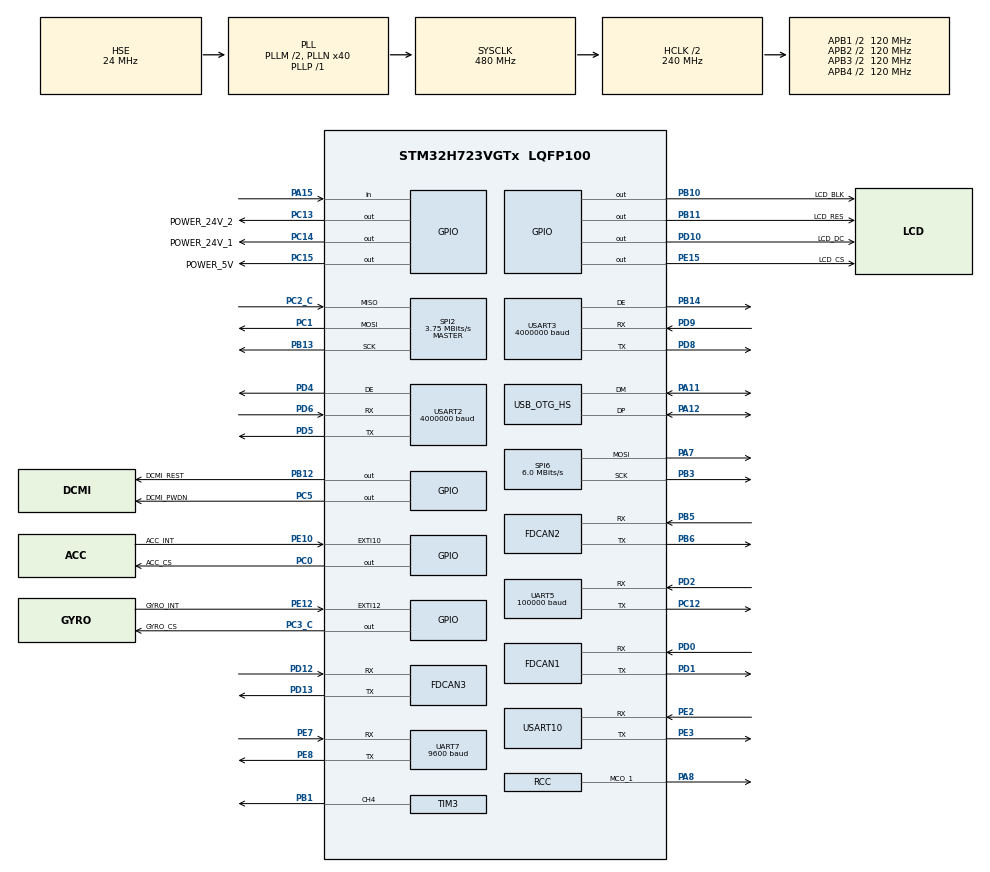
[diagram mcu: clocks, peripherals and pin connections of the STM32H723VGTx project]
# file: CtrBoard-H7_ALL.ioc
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Dma.Request0=UART5_RX
Dma.Request1=SPI2_RX
Dma.Request2=SPI2_TX
Dma.Request3=USART10_RX
Dma.Request4=USART2_RX
Dma.Request5=USART3_RX
Dma.Request6=USART2_TX
Dma.Request7=USART3_TX
Dma.Request8=UART7_RX
Dma.Request9=USART10_TX
Dma.SPI2_RX.1.Direction=DMA_PERIPH_TO_MEMORY
Dma.SPI2_RX.1.EventEnable=DISABLE
Dma.SPI2_RX.1.FIFOMode=DMA_FIFOMODE_DISABLE
Dma.SPI2_RX.1.Instance=DMA2_Stream0
Dma.SPI2_RX.1.MemDataAlignment=DMA_MDATAALIGN_BYTE
Dma.SPI2_RX.1.MemInc=DMA_MINC_ENABLE
Dma.SPI2_RX.1.Mode=DMA_NORMAL
Dma.SPI2_RX.1.PeriphDataAlignment=DMA_PDATAALIGN_BYTE
Dma.SPI2_RX.1.PeriphInc=DMA_PINC_DISABLE
Dma.SPI2_RX.1.Polarity=HAL_DMAMUX_REQ_GEN_RISING
Dma.SPI2_RX.1.Priority=DMA_PRIORITY_VERY_HIGH
Dma.SPI2_RX.1.RequestNumber=1
Dma.SPI2_RX.1.SignalID=NONE
Dma.SPI2_RX.1.SyncEnable=DISABLE
Dma.SPI2_RX.1.SyncPolarity=HAL_DMAMUX_SYNC_NO_EVENT
Dma.SPI2_RX.1.SyncRequestNumber=1
Dma.SPI2_RX.1.SyncSignalID=NONE
Dma.SPI2_TX.2.Direction=DMA_MEMORY_TO_PERIPH
Dma.SPI2_TX.2.EventEnable=DISABLE
Dma.SPI2_TX.2.FIFOMode=DMA_FIFOMODE_DISABLE
Dma.SPI2_TX.2.Instance=DMA2_Stream1
Dma.SPI2_TX.2.MemDataAlignment=DMA_MDATAALIGN_BYTE
Dma.SPI2_TX.2.MemInc=DMA_MINC_ENABLE
Dma.SPI2_TX.2.Mode=DMA_NORMAL
Dma.SPI2_TX.2.PeriphDataAlignment=DMA_PDATAALIGN_BYTE
Dma.SPI2_TX.2.PeriphInc=DMA_PINC_DISABLE
Dma.SPI2_TX.2.Polarity=HAL_DMAMUX_REQ_GEN_RISING
Dma.SPI2_TX.2.Priority=DMA_PRIORITY_HIGH
Dma.SPI2_TX.2.RequestNumber=1
Dma.SPI2_TX.2.SignalID=NONE
Dma.SPI2_TX.2.SyncEnable=DISABLE
Dma.SPI2_TX.2.SyncPolarity=HAL_DMAMUX_SYNC_NO_EVENT
Dma.SPI2_TX.2.SyncRequestNumber=1
Dma.SPI2_TX.2.SyncSignalID=NONE
Dma.UART5_RX.0.Direction=DMA_PERIPH_TO_MEMORY
Dma.UART5_RX.0.EventEnable=DISABLE
Dma.UART5_RX.0.FIFOMode=DMA_FIFOMODE_DISABLE
Dma.UART5_RX.0.Instance=DMA1_Stream2
Dma.UART5_RX.0.MemDataAlignment=DMA_MDATAALIGN_BYTE
Dma.UART5_RX.0.MemInc=DMA_MINC_ENABLE
Dma.UART5_RX.0.Mode=DMA_NORMAL
Dma.UART5_RX.0.PeriphDataAlignment=DMA_PDATAALIGN_BYTE
Dma.UART5_RX.0.PeriphInc=DMA_PINC_DISABLE
Dma.UART5_RX.0.Polarity=HAL_DMAMUX_REQ_GEN_RISING
Dma.UART5_RX.0.Priority=DMA_PRIORITY_VERY_HIGH
Dma.UART5_RX.0.RequestNumber=1
Dma.UART5_RX.0.SignalID=NONE
Dma.UART5_RX.0.SyncEnable=DISABLE
Dma.UART5_RX.0.SyncPolarity=HAL_DMAMUX_SYNC_NO_EVENT
Dma.UART5_RX.0.SyncRequestNumber=1
Dma.UART5_RX.0.SyncSignalID=NONE
Dma.UART7_RX.8.Direction=DMA_PERIPH_TO_MEMORY
Dma.UART7_RX.8.EventEnable=DISABLE
Dma.UART7_RX.8.FIFOMode=DMA_FIFOMODE_DISABLE
Dma.UART7_RX.8.Instance=DMA1_Stream0
Dma.UART7_RX.8.MemDataAlignment=DMA_MDATAALIGN_BYTE
Dma.UART7_RX.8.MemInc=DMA_MINC_ENABLE
Dma.UART7_RX.8.Mode=DMA_NORMAL
Dma.UART7_RX.8.PeriphDataAlignment=DMA_PDATAALIGN_BYTE
Dma.UART7_RX.8.PeriphInc=DMA_PINC_DISABLE
Dma.UART7_RX.8.Polarity=HAL_DMAMUX_REQ_GEN_RISING
Dma.UART7_RX.8.Priority=DMA_PRIORITY_HIGH
Dma.UART7_RX.8.RequestNumber=1
Dma.UART7_RX.8.SignalID=NONE
Dma.UART7_RX.8.SyncEnable=DISABLE
Dma.UART7_RX.8.SyncPolarity=HAL_DMAMUX_SYNC_NO_EVENT
Dma.UART7_RX.8.SyncRequestNumber=1
Dma.UART7_RX.8.SyncSignalID=NONE
Dma.USART10_RX.3.Direction=DMA_PERIPH_TO_MEMORY
Dma.USART10_RX.3.EventEnable=DISABLE
Dma.USART10_RX.3.FIFOMode=DMA_FIFOMODE_DISABLE
Dma.USART10_RX.3.Instance=DMA1_Stream5
Dma.USART10_RX.3.MemDataAlignment=DMA_MDATAALIGN_BYTE
Dma.USART10_RX.3.MemInc=DMA_MINC_ENABLE
Dma.USART10_RX.3.Mode=DMA_NORMAL
Dma.USART10_RX.3.PeriphDataAlignment=DMA_PDATAALIGN_BYTE
Dma.USART10_RX.3.PeriphInc=DMA_PINC_DISABLE
Dma.USART10_RX.3.Polarity=HAL_DMAMUX_REQ_GEN_RISING
Dma.USART10_RX.3.Priority=DMA_PRIORITY_HIGH
Dma.USART10_RX.3.RequestNumber=1
Dma.USART10_RX.3.SignalID=NONE
Dma.USART10_RX.3.SyncEnable=DISABLE
Dma.USART10_RX.3.SyncPolarity=HAL_DMAMUX_SYNC_NO_EVENT
Dma.USART10_RX.3.SyncRequestNumber=1
Dma.USART10_RX.3.SyncSignalID=NONE
Dma.USART10_TX.9.Direction=DMA_MEMORY_TO_PERIPH
Dma.USART10_TX.9.EventEnable=DISABLE
Dma.USART10_TX.9.FIFOMode=DMA_FIFOMODE_DISABLE
Dma.USART10_TX.9.Instance=DMA1_Stream1
Dma.USART10_TX.9.MemDataAlignment=DMA_MDATAALIGN_BYTE
Dma.USART10_TX.9.MemInc=DMA_MINC_ENABLE
Dma.USART10_TX.9.Mode=DMA_NORMAL
Dma.USART10_TX.9.PeriphDataAlignment=DMA_PDATAALIGN_BYTE
Dma.USART10_TX.9.PeriphInc=DMA_PINC_DISABLE
Dma.USART10_TX.9.Polarity=HAL_DMAMUX_REQ_GEN_RISING
Dma.USART10_TX.9.Priority=DMA_PRIORITY_HIGH
Dma.USART10_TX.9.RequestNumber=1
Dma.USART10_TX.9.SignalID=NONE
Dma.USART10_TX.9.SyncEnable=DISABLE
Dma.USART10_TX.9.SyncPolarity=HAL_DMAMUX_SYNC_NO_EVENT
Dma.USART10_TX.9.SyncRequestNumber=1
Dma.USART10_TX.9.SyncSignalID=NONE
Dma.USART2_RX.4.Direction=DMA_PERIPH_TO_MEMORY
Dma.USART2_RX.4.EventEnable=DISABLE
Dma.USART2_RX.4.FIFOMode=DMA_FIFOMODE_DISABLE
Dma.USART2_RX.4.Instance=DMA2_Stream2
Dma.USART2_RX.4.MemDataAlignment=DMA_MDATAALIGN_BYTE
Dma.USART2_RX.4.MemInc=DMA_MINC_ENABLE
Dma.USART2_RX.4.Mode=DMA_NORMAL
Dma.USART2_RX.4.PeriphDataAlignment=DMA_PDATAALIGN_BYTE
Dma.USART2_RX.4.PeriphInc=DMA_PINC_DISABLE
Dma.USART2_RX.4.Polarity=HAL_DMAMUX_REQ_GEN_RISING
Dma.USART2_RX.4.Priority=DMA_PRIORITY_HIGH
Dma.USART2_RX.4.RequestNumber=1
Dma.USART2_RX.4.SignalID=NONE
Dma.USART2_RX.4.SyncEnable=DISABLE
Dma.USART2_RX.4.SyncPolarity=HAL_DMAMUX_SYNC_NO_EVENT
Dma.USART2_RX.4.SyncRequestNumber=1
Dma.USART2_RX.4.SyncSignalID=NONE
Dma.USART2_TX.6.Direction=DMA_MEMORY_TO_PERIPH
Dma.USART2_TX.6.EventEnable=DISABLE
Dma.USART2_TX.6.FIFOMode=DMA_FIFOMODE_DISABLE
Dma.USART2_TX.6.Instance=DMA2_Stream3
Dma.USART2_TX.6.MemDataAlignment=DMA_MDATAALIGN_BYTE
Dma.USART2_TX.6.MemInc=DMA_MINC_ENABLE
Dma.USART2_TX.6.Mode=DMA_NORMAL
Dma.USART2_TX.6.PeriphDataAlignment=DMA_PDATAALIGN_BYTE
Dma.USART2_TX.6.PeriphInc=DMA_PINC_DISABLE
Dma.USART2_TX.6.Polarity=HAL_DMAMUX_REQ_GEN_RISING
Dma.USART2_TX.6.Priority=DMA_PRIORITY_HIGH
Dma.USART2_TX.6.RequestNumber=1
Dma.USART2_TX.6.SignalID=NONE
Dma.USART2_TX.6.SyncEnable=DISABLE
Dma.USART2_TX.6.SyncPolarity=HAL_DMAMUX_SYNC_NO_EVENT
Dma.USART2_TX.6.SyncRequestNumber=1
Dma.USART2_TX.6.SyncSignalID=NONE
Dma.USART3_RX.5.Direction=DMA_PERIPH_TO_MEMORY
Dma.USART3_RX.5.EventEnable=DISABLE
Dma.USART3_RX.5.FIFOMode=DMA_FIFOMODE_DISABLE
Dma.USART3_RX.5.Instance=DMA1_Stream4
Dma.USART3_RX.5.MemDataAlignment=DMA_MDATAALIGN_BYTE
Dma.USART3_RX.5.MemInc=DMA_MINC_ENABLE
Dma.USART3_RX.5.Mode=DMA_NORMAL
Dma.USART3_RX.5.PeriphDataAlignment=DMA_PDATAALIGN_BYTE
Dma.USART3_RX.5.PeriphInc=DMA_PINC_DISABLE
Dma.USART3_RX.5.Polarity=HAL_DMAMUX_REQ_GEN_RISING
Dma.USART3_RX.5.Priority=DMA_PRIORITY_HIGH
Dma.USART3_RX.5.RequestNumber=1
Dma.USART3_RX.5.SignalID=NONE
Dma.USART3_RX.5.SyncEnable=DISABLE
Dma.USART3_RX.5.SyncPolarity=HAL_DMAMUX_SYNC_NO_EVENT
Dma.USART3_RX.5.SyncRequestNumber=1
Dma.USART3_RX.5.SyncSignalID=NONE
Dma.USART3_TX.7.Direction=DMA_MEMORY_TO_PERIPH
Dma.USART3_TX.7.EventEnable=DISABLE
Dma.USART3_TX.7.FIFOMode=DMA_FIFOMODE_DISABLE
Dma.USART3_TX.7.Instance=DMA2_Stream5
Dma.USART3_TX.7.MemDataAlignment=DMA_MDATAALIGN_BYTE
Dma.USART3_TX.7.MemInc=DMA_MINC_ENABLE
Dma.USART3_TX.7.Mode=DMA_NORMAL
Dma.USART3_TX.7.PeriphDataAlignment=DMA_PDATAALIGN_BYTE
Dma.USART3_TX.7.PeriphInc=DMA_PINC_DISABLE
Dma.USART3_TX.7.Polarity=HAL_DMAMUX_REQ_GEN_RISING
Dma.USART3_TX.7.Priority=DMA_PRIORITY_HIGH
Dma.USART3_TX.7.RequestNumber=1
Dma.USART3_TX.7.SignalID=NONE
Dma.USART3_TX.7.SyncEnable=DISABLE
Dma.USART3_TX.7.SyncPolarity=HAL_DMAMUX_SYNC_NO_EVENT
Dma.USART3_TX.7.SyncRequestNumber=1
Dma.USART3_TX.7.SyncSignalID=NONE
FDCAN1.AutoRetransmission=DISABLE
FDCAN1.CalculateBaudRateNominal=1000000
FDCAN1.CalculateTimeBitNominal=1000
FDCAN1.CalculateTimeQuantumNominal=25.0
FDCAN1.DataPrescaler=3
FDCAN1.DataSyncJumpWidth=10
FDCAN1.DataTimeSeg1=29
FDCAN1.DataTimeSeg2=10
FDCAN1.ExtFiltersNbr=0
FDCAN1.FrameFormat=FDCAN_FRAME_CLASSIC
FDCAN1.MessageRAMOffset=0
FDCAN1.NominalPrescaler=3
FDCAN1.NominalSyncJumpWidth=10
FDCAN1.NominalTimeSeg1=29
FDCAN1.NominalTimeSeg2=10
FDCAN1.ProtocolException=ENABLE
FDCAN1.RxBuffersNbr=0
FDCAN1.RxFifo0ElmtsNbr=4
FDCAN1.RxFifo1ElmtsNbr=0
FDCAN1.StdFiltersNbr=14
FDCAN1.TxBuffersNbr=0
FDCAN1.TxEventsNbr=0
FDCAN1.TxFifoQueueElmtsNbr=4
FDCAN2.AutoRetransmission=DISABLE
FDCAN2.CalculateBaudRateNominal=1000000
FDCAN2.CalculateTimeBitNominal=1000
FDCAN2.CalculateTimeQuantumNominal=25.0
FDCAN2.DataPrescaler=3
FDCAN2.DataSyncJumpWidth=10
FDCAN2.DataTimeSeg1=29
FDCAN2.DataTimeSeg2=10
FDCAN2.ExtFiltersNbr=0
FDCAN2.FrameFormat=FDCAN_FRAME_CLASSIC
FDCAN2.MessageRAMOffset=852
FDCAN2.NominalPrescaler=3
FDCAN2.NominalSyncJumpWidth=10
FDCAN2.NominalTimeSeg1=29
FDCAN2.NominalTimeSeg2=10
FDCAN2.ProtocolException=DISABLE
FDCAN2.RxBuffersNbr=0
FDCAN2.RxFifo0ElmtsNbr=0
FDCAN2.RxFifo1ElmtsNbr=4
FDCAN2.StdFiltersNbr=14
FDCAN2.TxBuffersNbr=0
FDCAN2.TxEventsNbr=0
FDCAN2.TxFifoQueueElmtsNbr=4
FDCAN3.AutoRetransmission=DISABLE
FDCAN3.CalculateBaudRateNominal=1000000
FDCAN3.CalculateTimeBitNominal=1000
FDCAN3.CalculateTimeQuantumNominal=25.0
FDCAN3.DataPrescaler=3
FDCAN3.DataSyncJumpWidth=10
FDCAN3.DataTimeSeg1=29
FDCAN3.DataTimeSeg2=10
FDCAN3.ExtFiltersNbr=0
FDCAN3.FrameFormat=FDCAN_FRAME_CLASSIC
FDCAN3.MessageRAMOffset=1706
FDCAN3.NominalPrescaler=3
FDCAN3.NominalSyncJumpWidth=10
FDCAN3.NominalTimeSeg1=29
FDCAN3.NominalTimeSeg2=10
FDCAN3.ProtocolException=DISABLE
FDCAN3.RxBuffersNbr=0
FDCAN3.RxFifo0ElmtsNbr=4
FDCAN3.RxFifo1ElmtsNbr=0
FDCAN3.StdFiltersNbr=14
FDCAN3.TxBuffersNbr=0
FDCAN3.TxEventsNbr=0
FDCAN3.TxFifoQueueElmtsNbr=4
FREERTOS.INCLUDE_eTaskGetState=1
FREERTOS.INCLUDE_uxTaskGetStackHighWaterMark=1
FREERTOS.INCLUDE_vTaskDelayUntil=1
FREERTOS.INCLUDE_xQueueGetMutexHolder=1
FREERTOS.INCLUDE_xTaskGetCurrentTaskHandle=1
FREERTOS.INCLUDE_xTimerPendFunctionCall=1
FREERTOS.Tasks01=defaultTask,2,128,StartDefaultTask,As weak,NULL,Dynamic,NULL,NULL
FREERTOS.configENABLE_FPU=1
FREERTOS.configTOTAL_HEAP_SIZE=200000
FREERTOS.configUSE_COUNTING_SEMAPHORES=1
FREERTOS.configUSE_NEWLIB_REENTRANT=1
FREERTOS.configUSE_RECURSIVE_MUTEXES=1
FREERTOS.configUSE_TIMERS=1
FREERTOS.configUSE_TRACE_FACILITY=1
Mcu.Family=STM32H7
Mcu.Name=STM32H723VGTx
Mcu.Package=LQFP100
NVIC.DMA1_Stream0_IRQn=true\:5\:0\:false\:false\:true\:true\:false\:true\:true
NVIC.DMA1_Stream1_IRQn=true\:5\:0\:false\:false\:true\:true\:false\:true\:true
NVIC.DMA1_Stream2_IRQn=true\:5\:0\:false\:false\:true\:false\:false\:true\:true
NVIC.DMA1_Stream4_IRQn=true\:5\:0\:false\:false\:true\:true\:false\:true\:true
NVIC.DMA1_Stream5_IRQn=true\:5\:0\:false\:false\:true\:true\:false\:true\:true
NVIC.DMA2_Stream0_IRQn=true\:5\:0\:false\:false\:true\:false\:false\:true\:true
NVIC.DMA2_Stream1_IRQn=true\:5\:0\:false\:false\:true\:false\:false\:true\:true
NVIC.DMA2_Stream2_IRQn=true\:5\:0\:false\:false\:true\:false\:false\:true\:true
NVIC.DMA2_Stream3_IRQn=true\:5\:0\:false\:false\:true\:false\:false\:true\:true
NVIC.DMA2_Stream5_IRQn=true\:5\:0\:false\:false\:true\:false\:false\:true\:true
NVIC.FDCAN1_IT0_IRQn=true\:5\:0\:false\:false\:true\:true\:true\:true\:true
NVIC.FDCAN2_IT0_IRQn=true\:5\:0\:false\:false\:true\:true\:true\:true\:true
NVIC.FDCAN3_IT0_IRQn=true\:5\:0\:false\:false\:true\:true\:true\:true\:true
NVIC.OTG_HS_IRQn=true\:5\:0\:false\:false\:true\:true\:true\:true\:true
NVIC.PriorityGroup=NVIC_PRIORITYGROUP_4
NVIC.SPI2_IRQn=true\:5\:0\:false\:false\:true\:true\:false\:true\:true
NVIC.TIM23_IRQn=true\:15\:0\:true\:false\:true\:false\:false\:true\:true
NVIC.TIM4_IRQn=true\:5\:0\:false\:false\:true\:true\:true\:true\:true
NVIC.TimeBase=TIM23_IRQn
NVIC.TimeBaseIP=TIM23
NVIC.UART5_IRQn=true\:5\:0\:false\:false\:true\:true\:true\:true\:true
NVIC.UART7_IRQn=true\:5\:0\:false\:false\:true\:true\:true\:true\:true
NVIC.USART10_IRQn=true\:5\:0\:false\:false\:true\:true\:true\:true\:true
NVIC.USART2_IRQn=true\:5\:0\:false\:false\:true\:true\:true\:true\:true
NVIC.USART3_IRQn=true\:5\:0\:false\:false\:true\:true\:true\:true\:true
PA1.Signal=OCTOSPIM_P1_IO3
PA11.Mode=Device_Only_FS
PA11.Signal=USB_OTG_HS_DM
PA12.Mode=Device_Only_FS
PA12.Signal=USB_OTG_HS_DP
PA13(JTMS/SWDIO).Signal=DEBUG_JTMS-SWDIO
PA14(JTCK/SWCLK).Signal=DEBUG_JTCK-SWCLK
PA15(JTDI).Signal=GPIO_Input
PA3.Signal=OCTOSPIM_P1_IO2
PA5.Signal=ADCx_INP19
PA7.Mode=TX_Only_Simplex_Unidirect_Master
PA7.Signal=SPI6_MOSI
PA8.Mode=Clock-out-1
PA8.Signal=RCC_MCO_1
PA9.GPIO_Speed=GPIO_SPEED_FREQ_VERY_HIGH
PA9.Signal=USART1_TX
PB0.Signal=OCTOSPIM_P1_IO1
PB1.Signal=S_TIM3_CH4
PB10.GPIO_Label=LCD_BLK
PB10.Signal=GPIO_Output
PB11.GPIO_Label=LCD_RES
PB11.Signal=GPIO_Output
PB12.GPIO_Label=DCMI_REST
PB12.GPIO_PuPd=GPIO_PULLUP
PB12.GPIO_Speed=GPIO_SPEED_FREQ_VERY_HIGH
PB12.PinState=GPIO_PIN_SET
PB12.Signal=GPIO_Output
PB13.GPIO_Speed=GPIO_SPEED_FREQ_VERY_HIGH
PB13.Mode=Full_Duplex_Master
PB13.Signal=SPI2_SCK
PB14.Mode=Hardware Flow Control (RS485)
PB14.Signal=USART3_DE
PB15.Signal=S_TIM12_CH2
PB2.Signal=OCTOSPIM_P1_CLK
PB3(JTDO/TRACESWO).Mode=TX_Only_Simplex_Unidirect_Master
PB3(JTDO/TRACESWO).Signal=SPI6_SCK
PB5.Mode=FDCAN_Activate
PB5.Signal=FDCAN2_RX
PB6.Mode=FDCAN_Activate
PB6.Signal=FDCAN2_TX
PC0.GPIO_Label=ACC_CS
PC0.GPIO_Speed=GPIO_SPEED_FREQ_VERY_HIGH
PC0.PinState=GPIO_PIN_SET
PC0.Signal=GPIO_Output
PC1.GPIO_Speed=GPIO_SPEED_FREQ_VERY_HIGH
PC1.Mode=Full_Duplex_Master
PC1.Signal=SPI2_MOSI
PC12.GPIO_Speed=GPIO_SPEED_FREQ_VERY_HIGH
PC12.Mode=Asynchronous
PC12.Signal=UART5_TX
PC13.GPIO_Label=POWER_24V_2
PC13.PinState=GPIO_PIN_SET
PC13.Signal=GPIO_Output
PC14-OSC32_IN.GPIO_Label=POWER_24V_1
PC14-OSC32_IN.PinState=GPIO_PIN_SET
PC14-OSC32_IN.Signal=GPIO_Output
PC15-OSC32_OUT.GPIO_Label=POWER_5V
PC15-OSC32_OUT.PinState=GPIO_PIN_SET
PC15-OSC32_OUT.Signal=GPIO_Output
PC2_C.GPIO_Speed=GPIO_SPEED_FREQ_VERY_HIGH
PC2_C.Mode=Full_Duplex_Master
PC2_C.Signal=SPI2_MISO
PC3_C.GPIO_Label=GYRO_CS
PC3_C.GPIO_Speed=GPIO_SPEED_FREQ_VERY_HIGH
PC3_C.PinState=GPIO_PIN_SET
PC3_C.Signal=GPIO_Output
PC4.Signal=ADCx_INP4
PC5.GPIO_Label=DCMI_PWDN
PC5.GPIO_PuPd=GPIO_NOPULL
PC5.GPIO_Speed=GPIO_SPEED_FREQ_VERY_HIGH
PC5.PinState=GPIO_PIN_SET
PC5.Signal=GPIO_Output
PD0.Mode=FDCAN_Activate
PD0.Signal=FDCAN1_RX
PD1.Mode=FDCAN_Activate
PD1.Signal=FDCAN1_TX
PD10.GPIO_Label=LCD_DC
PD10.Signal=GPIO_Output
PD11.Signal=OCTOSPIM_P1_IO0
PD12.Mode=FDCAN_Activate
PD12.Signal=FDCAN3_RX
PD13.Mode=FDCAN_Activate
PD13.Signal=FDCAN3_TX
PD2.GPIO_Speed=GPIO_SPEED_FREQ_VERY_HIGH
PD2.Mode=Asynchronous
PD2.Signal=UART5_RX
PD4.Mode=Hardware Flow Control (RS485)
PD4.Signal=USART2_DE
PD5.Mode=Asynchronous
PD5.Signal=USART2_TX
PD6.Mode=Asynchronous
PD6.Signal=USART2_RX
PD7.GPIO_Speed=GPIO_SPEED_FREQ_VERY_HIGH
PD7.Signal=SPI1_MOSI
PD8.Mode=Asynchronous
PD8.Signal=USART3_TX
PD9.Mode=Asynchronous
PD9.Signal=USART3_RX
PE10.GPIO_Label=ACC_INT
PE10.Signal=GPXTI10
PE11.Signal=OCTOSPIM_P1_NCS
PE12.GPIO_Label=GYRO_INT
PE12.Signal=GPXTI12
PE15.GPIO_Label=LCD_CS
PE15.Signal=GPIO_Output
PE2.Mode=Asynchronous
PE2.Signal=USART10_RX
PE3.Mode=Asynchronous
PE3.Signal=USART10_TX
PE7.Mode=Asynchronous
PE7.Signal=UART7_RX
PE8.Mode=Asynchronous
PE8.Signal=UART7_TX
PH0-OSC_IN.Mode=HSE-External-Oscillator
PH0-OSC_IN.Signal=RCC_OSC_IN
PH1-OSC_OUT.Mode=HSE-External-Oscillator
PH1-OSC_OUT.Signal=RCC_OSC_OUT
ProjectManager.HeapSize=0x400
ProjectManager.StackSize=0x1000
ProjectManager.TargetToolchain=STM32CubeIDE
RCC.ADCFreq_Value=96000000
RCC.APB1Freq_Value=120000000
RCC.APB2Freq_Value=120000000
RCC.APB3Freq_Value=120000000
RCC.APB4Freq_Value=120000000
RCC.CortexFreq_Value=480000000
RCC.D1PPRE=RCC_APB3_DIV2
RCC.D2PPRE1=RCC_APB1_DIV2
RCC.D2PPRE2=RCC_APB2_DIV2
RCC.D3PPRE=RCC_APB4_DIV2
RCC.DIVM1=2
RCC.DIVM2=2
RCC.DIVN1=40
RCC.DIVN2=16
RCC.DIVP1=1
RCC.DIVQ1=4
RCC.EnbaleCSS=false
RCC.HCLKFreq_Value=240000000
RCC.HPRE=RCC_HCLK_DIV2
RCC.HSE_VALUE=24000000
RCC.PLL2FRACN=0
RCC.PLL2_VCI_Range-AdvancedSettings=RCC_PLL2VCIRANGE_0
RCC.PLL2_VCO_SEL-AdvancedSettings=RCC_PLL2VCOMEDIUM
RCC.PLL3FRACN=0
RCC.PLL3_VCO_SEL-AdvancedSettings=RCC_PLL3VCOMEDIUM
RCC.PLLFRACN=0
RCC.PLLSourceVirtual=RCC_PLLSOURCE_HSE
RCC.SPI6CLockSelection=RCC_SPI6CLKSOURCE_HSE
RCC.SYSCLKFreq_VALUE=480000000
RCC.SYSCLKSource=RCC_SYSCLKSOURCE_PLLCLK
RCC.USBCLockSelection=RCC_USBCLKSOURCE_HSI48
RCC.USBFreq_Value=48000000
SH.ADCx_INP19.0=ADC1_INP19
SH.ADCx_INP4.0=ADC1_INP4
SH.S_TIM12_CH2.0=TIM12_CH2
SH.S_TIM3_CH4.0=TIM3_CH4,PWM Generation4 CH4
SPI2.BaudRatePrescaler=SPI_BAUDRATEPRESCALER_32
SPI2.CLKPhase=SPI_PHASE_2EDGE
SPI2.CLKPolarity=SPI_POLARITY_HIGH
SPI2.CalculateBaudRate=3.75 MBits/s
SPI2.DataSize=SPI_DATASIZE_8BIT
SPI2.Direction=SPI_DIRECTION_2LINES
SPI2.Mode=SPI_MODE_MASTER
SPI2.VirtualType=VM_MASTER
SPI6.BaudRatePrescaler=SPI_BAUDRATEPRESCALER_4
SPI6.CLKPhase=SPI_PHASE_2EDGE
SPI6.CalculateBaudRate=6.0 MBits/s
SPI6.DataSize=SPI_DATASIZE_8BIT
SPI6.Direction=SPI_DIRECTION_2LINES_TXONLY
SPI6.Mode=SPI_MODE_MASTER
SPI6.VirtualType=VM_MASTER
STMicroelectronics.X-CUBE-ALGOBUILD.1.4.0.LibraryCcDSPOoLibraryJjDSPOoLibrary=true
TIM3.AutoReloadPreload=TIM_AUTORELOAD_PRELOAD_ENABLE
TIM3.Channel-PWM\ Generation4\ CH4=TIM_CHANNEL_4
TIM3.Period=10000-1
TIM3.Prescaler=24-1
TIM4.Period=47999
UART5.BaudRate=100000
UART5.Mode=MODE_RX
UART5.Parity=PARITY_EVEN
UART5.StopBits=UART_STOPBITS_2
UART5.WordLength=WORDLENGTH_9B
UART7.BaudRate=9600
USART10.VirtualMode=VM_ASYNC
USART2.BaudRate=4000000
USART2.VirtualMode-Asynchronous=VM_ASYNC
USART2.VirtualMode-Hardware\ Flow\ Control\ (RS485)=VM_ASYNC
USART3.BaudRate=4000000
USART3.VirtualMode-Asynchronous=VM_ASYNC
USART3.VirtualMode-Hardware\ Flow\ Control\ (RS485)=VM_ASYNC
USB_DEVICE.CLASS_NAME_HS=CDC
USB_DEVICE.VirtualMode=Cdc
USB_DEVICE.VirtualModeHS=Cdc_HS
USB_OTG_HS.VirtualMode-Device_Only_FS=Device_Only_FS
VP_FREERTOS_VS_CMSIS_V1.Mode=CMSIS_V1
VP_MEMORYMAP_VS_MEMORYMAP.Mode=CurAppReg
VP_STMicroelectronics.X-CUBE-ALGOBUILD_VS_DSPOoLibraryJjLibrary_1.4.0_1.4.0.Mode=DSPOoLibraryJjLibrary
VP_SYS_VS_tim23.Mode=TIM23
VP_TIM4_VS_ClockSourceINT.Mode=Internal
VP_USB_DEVICE_VS_USB_DEVICE_CDC_HS.Mode=CDC_HS
board=custom

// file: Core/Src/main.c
/* USER CODE BEGIN Header */
/**
  ******************************************************************************
  * @file           : main.c
  * @brief          : Main program body
  ******************************************************************************
  * @attention
  *
  * Copyright (c) 2025 STMicroelectronics.
  * All rights reserved.
  *
  * This software is licensed under terms that can be found in the LICENSE file
  * in the root directory of this software component.
  * If no LICENSE file comes with this software, it is provided AS-IS.
  *
  ******************************************************************************
  */
/* USER CODE END Header */
#include "main.h"
#include "cmsis_os.h"
#include "dma.h"
#include "fdcan.h"
#include "spi.h"
#include "tim.h"
#include "usart.h"
#include "usb_device.h"
#include "gpio.h"

/* USER CODE BEGIN Includes */
#include "SEGGER_RTT.h"
#include "BMI088driver.h"
#include "drv_dwt.h"
#include "hal_can.h"
#include "lifter_task.h"
#include "robot.h"
// #include "rm_task.h"
#include "lifter_task.h"
// #include "unitree_rs485.h"
#include "unitree_motor.h"
/* USER CODE END Includes */

/* USER CODE BEGIN PTD */
// 全局声明信号量
SemaphoreHandle_t xSemaphoreUART10 = NULL;
SemaphoreHandle_t xSemaphoreUSART2 = NULL;
SemaphoreHandle_t xSemaphoreUART5 = NULL;
SemaphoreHandle_t xSemaphoreUART7 = NULL;
QueueSetHandle_t xUartQueueSet = NULL; // 定义队列集句柄,统一管理串口中断信号量
SemaphoreHandle_t  sbus_cmd_mutex = NULL;
/* USER CODE END PTD */

void SystemClock_Config(void);
void MX_FREERTOS_Init(void);

int main(void)
{

  /* MCU Configuration--------------------------------------------------------*/

  /* Reset of all peripherals, Initializes the Flash interface and the Systick. */
  HAL_Init();

  /* Configure the system clock */
  SystemClock_Config();

  /* Initialize all configured peripherals */
  MX_GPIO_Init();
  MX_DMA_Init();
  MX_FDCAN1_Init();
  MX_FDCAN2_Init();
  MX_FDCAN3_Init();
  MX_UART5_Init();
  MX_SPI2_Init();
  MX_TIM3_Init();
  MX_TIM4_Init();
  MX_USART10_UART_Init();
  MX_SPI6_Init();
  MX_USART2_UART_Init();
  MX_USART3_UART_Init();
  MX_UART7_Init();
  /* USER CODE BEGIN 2 */
  MX_USB_DEVICE_Init();

  dwt_init(480);

  CAN_service_init();
  BMI088_init(&hspi2);

  SEGGER_RTT_Init();//系统日志log初始化
  xSemaphoreUART10 = xSemaphoreCreateBinary();  // <-- 在此处创建信号量
  xSemaphoreUSART2= xSemaphoreCreateBinary();
  xSemaphoreUART5 = xSemaphoreCreateBinary();  // <-- 在此处创建信号量
  xSemaphoreUART7 = xSemaphoreCreateBinary();
  // 定义队列集（最多监听 4 个信号量）
  xUartQueueSet = xQueueCreateSet(4);

  xQueueAddToSet(xSemaphoreUART5, xUartQueueSet);
  xQueueAddToSet(xSemaphoreUART10, xUartQueueSet);
  xQueueAddToSet(xSemaphoreUSART2, xUartQueueSet);
  xQueueAddToSet(xSemaphoreUART7, xUartQueueSet);

  sbus_cmd_mutex = xSemaphoreCreateMutex();  // 初始化互斥锁
   // unitree_motor_receive_init();
  // unitree_rs485_init();
   // HAL_Delay(5000);
  unitree_motor_rs485_init();
  // init_example_motor();
  robot_init();
  HAL_TIM_Base_Start_IT(&htim4);
  /* USER CODE END 2 */

  /* Call init function for freertos objects (in cmsis_os2.c) */
  MX_FREERTOS_Init();

  /* Start scheduler */
  osKernelStart();

  /* We should never get here as control is now taken by the scheduler */

  /* Infinite loop */
  while (1)
  {

  }
}

void SystemClock_Config(void)
{
  RCC_OscInitTypeDef RCC_OscInitStruct = {0};
  RCC_ClkInitTypeDef RCC_ClkInitStruct = {0};

  /** Supply configuration update enable
  */
  HAL_PWREx_ConfigSupply(PWR_LDO_SUPPLY);

  /** Configure the main internal regulator output voltage
  */
  __HAL_PWR_VOLTAGESCALING_CONFIG(PWR_REGULATOR_VOLTAGE_SCALE0);

  while(!__HAL_PWR_GET_FLAG(PWR_FLAG_VOSRDY)) {}

  /** Initializes the RCC Oscillators according to the specified parameters
  * in the RCC_OscInitTypeDef structure.
  */
  RCC_OscInitStruct.OscillatorType = RCC_OSCILLATORTYPE_HSI48|RCC_OSCILLATORTYPE_HSI
                              |RCC_OSCILLATORTYPE_HSE;
  RCC_OscInitStruct.HSEState = RCC_HSE_ON;
  RCC_OscInitStruct.HSIState = RCC_HSI_DIV1;
  RCC_OscInitStruct.HSICalibrationValue = 64;
  RCC_OscInitStruct.HSI48State = RCC_HSI48_ON;
  RCC_OscInitStruct.PLL.PLLState = RCC_PLL_ON;
  RCC_OscInitStruct.PLL.PLLSource = RCC_PLLSOURCE_HSE;
  RCC_OscInitStruct.PLL.PLLM = 2;
  RCC_OscInitStruct.PLL.PLLN = 40;
  RCC_OscInitStruct.PLL.PLLP = 1;
  RCC_OscInitStruct.PLL.PLLQ = 4;
  RCC_OscInitStruct.PLL.PLLR = 2;
  RCC_OscInitStruct.PLL.PLLRGE = RCC_PLL1VCIRANGE_3;
  RCC_OscInitStruct.PLL.PLLVCOSEL = RCC_PLL1VCOWIDE;
  RCC_OscInitStruct.PLL.PLLFRACN = 0;
  if (HAL_RCC_OscConfig(&RCC_OscInitStruct) != HAL_OK)
  {
    Error_Handler();
  }

  /** Initializes the CPU, AHB and APB buses clocks
  */
  RCC_ClkInitStruct.ClockType = RCC_CLOCKTYPE_HCLK|RCC_CLOCKTYPE_SYSCLK
                              |RCC_CLOCKTYPE_PCLK1|RCC_CLOCKTYPE_PCLK2
                              |RCC_CLOCKTYPE_D3PCLK1|RCC_CLOCKTYPE_D1PCLK1;
  RCC_ClkInitStruct.SYSCLKSource = RCC_SYSCLKSOURCE_PLLCLK;
  RCC_ClkInitStruct.SYSCLKDivider = RCC_SYSCLK_DIV1;
  RCC_ClkInitStruct.AHBCLKDivider = RCC_HCLK_DIV2;
  RCC_ClkInitStruct.APB3CLKDivider = RCC_APB3_DIV2;
  RCC_ClkInitStruct.APB1CLKDivider = RCC_APB1_DIV2;
  RCC_ClkInitStruct.APB2CLKDivider = RCC_APB2_DIV2;
  RCC_ClkInitStruct.APB4CLKDivider = RCC_APB4_DIV2;

  if (HAL_RCC_ClockConfig(&RCC_ClkInitStruct, FLASH_LATENCY_3) != HAL_OK)
  {
    Error_Handler();
  }
  HAL_RCC_MCOConfig(RCC_MCO1, RCC_MCO1SOURCE_HSI, RCC_MCODIV_1);
}

void Error_Handler(void)
{
  __disable_irq();
  while (1)
  {
  }
}

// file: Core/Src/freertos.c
/* USER CODE BEGIN Header */
/**
  ******************************************************************************
  * File Name          : freertos.c
  * Description        : Code for freertos applications
  ******************************************************************************
  * @attention
  *
  * Copyright (c) 2025 STMicroelectronics.
  * All rights reserved.
  *
  * This software is licensed under terms that can be found in the LICENSE file
  * in the root directory of this software component.
  * If no LICENSE file comes with this software, it is provided AS-IS.
  *
  ******************************************************************************
  */
/* USER CODE END Header */

#include "FreeRTOS.h"
#include "task.h"
#include "main.h"
#include "cmsis_os.h"

/* USER CODE BEGIN Includes */
#include "ws2812.h"
/* USER CODE END Includes */

/* USER CODE BEGIN PTD */
#include "unitree_motor.h"
/* USER CODE END PTD */

osThreadId defaultTaskHandle;

void StartDefaultTask(void const * argument);

extern void MX_USB_DEVICE_Init(void);
void MX_FREERTOS_Init(void); /* (MISRA C 2004 rule 8.1) */

/* GetIdleTaskMemory prototype (linked to static allocation support) */
void vApplicationGetIdleTaskMemory( StaticTask_t **ppxIdleTaskTCBBuffer, StackType_t **ppxIdleTaskStackBuffer, uint32_t *pulIdleTaskStackSize );

/* GetTimerTaskMemory prototype (linked to static allocation support) */
void vApplicationGetTimerTaskMemory( StaticTask_t **ppxTimerTaskTCBBuffer, StackType_t **ppxTimerTaskStackBuffer, uint32_t *pulTimerTaskStackSize );

/* USER CODE BEGIN GET_IDLE_TASK_MEMORY */
static StaticTask_t xIdleTaskTCBBuffer;
static StackType_t xIdleStack[configMINIMAL_STACK_SIZE];

void vApplicationGetIdleTaskMemory( StaticTask_t **ppxIdleTaskTCBBuffer, StackType_t **ppxIdleTaskStackBuffer, uint32_t *pulIdleTaskStackSize )
{
  *ppxIdleTaskTCBBuffer = &xIdleTaskTCBBuffer;
  *ppxIdleTaskStackBuffer = &xIdleStack[0];
  *pulIdleTaskStackSize = configMINIMAL_STACK_SIZE;
  /* place for user code */
}
/* USER CODE END GET_IDLE_TASK_MEMORY */

/* USER CODE BEGIN GET_TIMER_TASK_MEMORY */
static StaticTask_t xTimerTaskTCBBuffer;
static StackType_t xTimerStack[configTIMER_TASK_STACK_DEPTH];

void vApplicationGetTimerTaskMemory( StaticTask_t **ppxTimerTaskTCBBuffer, StackType_t **ppxTimerTaskStackBuffer, uint32_t *pulTimerTaskStackSize )
{
  *ppxTimerTaskTCBBuffer = &xTimerTaskTCBBuffer;
  *ppxTimerTaskStackBuffer = &xTimerStack[0];
  *pulTimerTaskStackSize = configTIMER_TASK_STACK_DEPTH;
  /* place for user code */
}
/* USER CODE END GET_TIMER_TASK_MEMORY */

void MX_FREERTOS_Init(void) {

  /* Create the thread(s) */
  /* definition and creation of defaultTask */
  osThreadDef(defaultTask, StartDefaultTask, osPriorityHigh, 0, 128);
  defaultTaskHandle = osThreadCreate(osThread(defaultTask), NULL);

}

__weak void StartDefaultTask(void const * argument)
{
  /* init code for USB_DEVICE */
  MX_USB_DEVICE_Init();
  /* USER CODE BEGIN StartDefaultTask */
  /* Infinite loop */

  // vTaskDelay(100);
  // init_example_motor();
  for(;;)
  {

      WS2812_Ctrl(1, 100, 1);
      vTaskDelay(500);
      WS2812_Ctrl(0, 0, 0);
      vTaskDelay(500);

  }
  /* USER CODE END StartDefaultTask */
}
